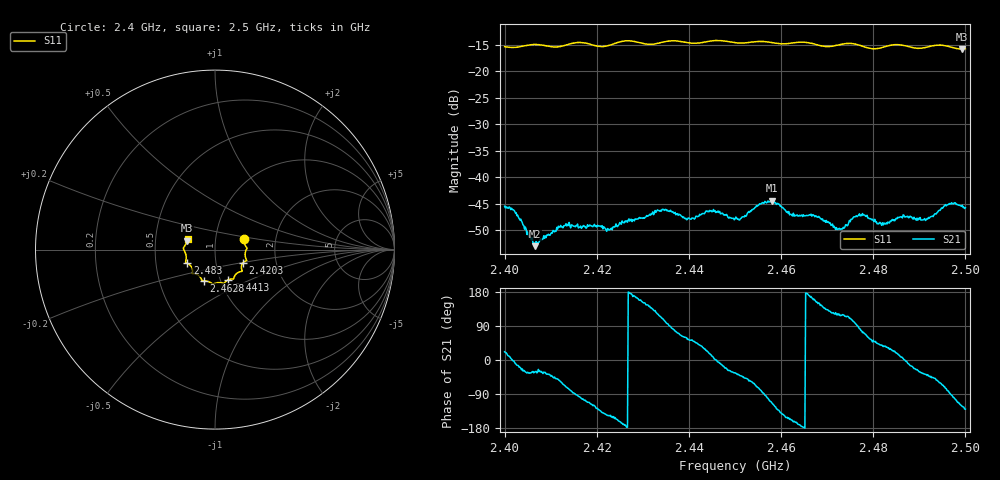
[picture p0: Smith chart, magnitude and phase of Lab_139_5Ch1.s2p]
# Hz S RI R 50
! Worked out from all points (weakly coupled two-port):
!   601 points, 2.4 GHz to 2.5 GHz, reference 50 ohm
!   highest |S21| = -44.48 dB at 2.458 GHz (marker M1); lowest = -53.0 dB at 2.4065 GHz (marker M2)
!   lowest |S11| = -15.8 dB at 2.4993 GHz (marker M3), VSWR 1.39, Z = 36.5 + j3.71 ohm
!   |S11| at or under -10 dB: start of sweep to end of sweep
!   S12 and S22 are empty: the file has one direction only
!   S11 on the Smith chart (normalised r, x): 2.4 GHz: 1.37, +0.16; 2.4203 GHz: 1.35, -0.21; 2.4413 GHz: 1.09, -0.38; 2.4628 GHz: 0.83, -0.30; 2.483 GHz: 0.72, -0.11; 2.5 GHz: 0.73, +0.09
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2.4e9  0.1607 0.0573  0.00493 0.00196  0 0  0 0
2.402e9  0.1636 0.0355  0.00486 -0.000224  0 0  0 0
2.4065e9  0.1786 0.00859  0.00189 -0.00117  0 0  0 0
2.411833e9  0.1677 -0.03  0.00199 -0.00272  0 0  0 0
2.416667e9  0.1762 -0.0614  -0.00066 -0.00321  0 0  0 0
2.420333e9  0.1552 -0.0739  -0.00227 -0.00262  0 0  0 0
2.4225e9  0.147 -0.0939  -0.00271 -0.00175  0 0  0 0
2.433333e9  0.1083 -0.1487  -0.00245 0.00418  0 0  0 0
2.441333e9  0.0744 -0.1679  0.00277 0.00298  0 0  0 0
2.445e9  0.0527 -0.1864  0.00463 0.000827  0 0  0 0
2.45e9  0.0293 -0.1838  0.00334 -0.00223  0 0  0 0
2.458e9  -0.0224 -0.1848  -0.00234 -0.00549  0 0  0 0
2.462833e9  -0.0631 -0.1747  -0.00406 -0.00134  0 0  0 0
2.466667e9  -0.0743 -0.1675  -0.00412 0.00117  0 0  0 0
2.472333e9  -0.1136 -0.1352  -0.00171 0.00271  0 0  0 0
2.477333e9  -0.1242 -0.122  0.000922 0.00427  0 0  0 0
2.483e9  -0.1547 -0.0765  0.003 0.00201  0 0  0 0
2.483333e9  -0.157 -0.0757  0.00314 0.002  0 0  0 0
2.491333e9  -0.1668 -0.0134  0.00307 -0.00239  0 0  0 0
2.496667e9  -0.1687 0.0206  0.000157 -0.00557  0 0  0 0
2.499333e9  -0.1542 0.0494  -0.00292 -0.00455  0 0  0 0
2.5e9  -0.1524 0.0586  -0.00328 -0.00395  0 0  0 0
